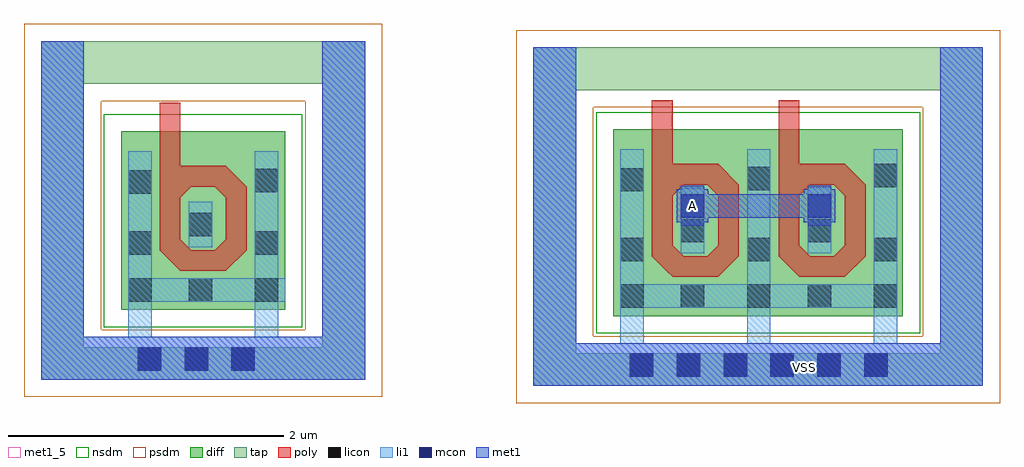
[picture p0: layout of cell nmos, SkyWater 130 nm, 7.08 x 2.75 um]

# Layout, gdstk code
import gdstk
lib = gdstk.Library(unit=1e-6, precision=1e-09)
def R(c, l, rs):  # rectangles x0, y0, x1, y1
    for r in rs: c.add(gdstk.rectangle(r[:2], r[2:], *l))
def A(c, l, x, y, w, h, nx, ny, dx, dy):  # array of equal rectangles
    R(c, l, [(x+i*dx, y+j*dy, x+i*dx+w, y+j*dy+h) for i in range(nx) for j in range(ny)])
def P(c, l, *ps):  # polygons
    for p in ps: c.add(gdstk.Polygon(p, *l))
diff = (65, 20)
tap = (65, 44)
poly = (66, 20)
licon = (66, 44)
li1 = (67, 20)
mcon = (67, 44)
met1_5 = (68, 5)
met1 = (68, 20)
nsdm = (93, 44)
psdm = (94, 20)

nmos = lib.new_cell('nmos')
R(nmos, diff, [(3.57,0.46,5.67,1.815), (0,0.505,1.19,1.8)])
R(nmos, tap, [(2.99,-0.045,6.25,0.19), (-0.58,0,1.77,0.235), (2.99,0.19,3.3,2.1), (5.94,0.19,6.25,2.1), (-0.58,0.235,-0.27,2.145), (1.46,0.235,1.77,2.145), (2.99,2.1,6.25,2.41), (-0.58,2.145,1.77,2.455)])
R(nmos, poly, [(4,0.745,4.33,0.79), (4.92,0.745,5.25,0.895), (0.43,0.79,0.76,0.94), (3.955,0.79,4.33,0.895), (3.85,0.895,4,1.415), (4.33,0.895,4.48,1.415), (4.77,0.895,4.92,1.415), (5.25,0.895,5.4,1.415), (0.28,0.94,0.43,1.4), (0.76,0.94,0.91,1.4), (0.28,1.4,0.76,1.55), (3.85,1.415,4.33,1.565), (4.77,1.415,5.25,1.565), (0.28,1.55,0.43,2.01), (3.85,1.565,4,2.025), (4.77,1.565,4.92,2.025)])
P(nmos, poly, [(0.76,1.55),(0.76,1.4),(0.91,1.4)],
  [(0.43,1.32),(0.43,1.4),(0.51,1.4)],
  [(0.68,1.4),(0.76,1.4),(0.76,1.32)],
  [(0.43,1.02),(0.43,0.94),(0.51,0.94)],
  [(0.68,0.94),(0.76,0.94),(0.76,1.02)],
  [(0.28,0.94),(0.43,0.94),(0.43,0.79)],
  [(0.76,0.79),(0.76,0.94),(0.91,0.94)],
  [(4.33,1.565),(4.33,1.415),(4.48,1.415)],
  [(4,1.335),(4,1.415),(4.08,1.415)],
  [(4.25,1.415),(4.33,1.415),(4.33,1.335)],
  [(4,0.975),(4,0.895),(4.08,0.895)],
  [(4.25,0.895),(4.33,0.895),(4.33,0.975)],
  [(3.85,0.895),(3.955,0.895),(3.955,0.79)],
  [(3.955,0.79),(4,0.79),(4,0.745)],
  [(4.33,0.745),(4.33,0.895),(4.48,0.895)],
  [(5.25,1.565),(5.25,1.415),(5.4,1.415)],
  [(4.92,1.335),(4.92,1.415),(5,1.415)],
  [(5.17,1.415),(5.25,1.415),(5.25,1.335)],
  [(4.92,0.975),(4.92,0.895),(5,0.895)],
  [(5.17,0.895),(5.25,0.895),(5.25,0.975)],
  [(4.77,0.895),(4.92,0.895),(4.92,0.745)],
  [(5.25,0.745),(5.25,0.895),(5.4,0.895)])
A(nmos, licon, 3.69, 0.02, 0.17, 0.17, 6, 1, 0.34, 0)
A(nmos, licon, 0.12, 0.065, 0.17, 0.17, 3, 1, 0.34, 0)
A(nmos, licon, 3.62, 0.86, 0.17, 0.17, 3, 1, 0.92, 0)
R(nmos, licon, [(3.62,0.52,3.79,0.69), (4.06,0.52,4.23,0.69), (4.54,0.52,4.71,0.69), (4.98,0.52,5.15,0.69), (5.46,0.52,5.63,0.69), (0.05,0.565,0.22,0.735), (0.49,0.565,0.66,0.735), (0.97,0.565,1.14,0.735), (0.05,0.905,0.22,1.075), (0.97,0.905,1.14,1.075), (4.06,0.995,4.23,1.165), (4.98,0.995,5.15,1.165), (0.49,1.04,0.66,1.21), (0.05,1.35,0.22,1.52), (0.97,1.36,1.14,1.53), (3.62,1.365,3.79,1.535), (4.54,1.375,4.71,1.545), (5.46,1.395,5.63,1.565)])
A(nmos, li1, 3.62, 0.265, 0.17, 0.255, 3, 1, 0.92, 0)
A(nmos, li1, 3.62, 0.69, 0.17, 0.98, 3, 1, 0.92, 0)
R(nmos, li1, [(2.99,-0.045,6.25,0.265), (-0.58,0,1.77,0.31), (2.99,0.265,3.3,2.41), (5.94,0.265,6.25,2.41), (-0.58,0.31,-0.27,2.455), (0.05,0.31,0.22,0.565), (0.97,0.31,1.14,0.565), (1.46,0.31,1.77,2.455), (3.62,0.52,5.63,0.69), (0.05,0.565,1.19,0.735), (0.05,0.735,0.22,1.655), (0.97,0.735,1.14,1.655), (4.06,0.915,4.23,1.39), (4.98,0.915,5.15,1.395), (0.49,0.96,0.66,1.29)])
A(nmos, mcon, 3.69, 0.02, 0.17, 0.17, 6, 1, 0.34, 0)
A(nmos, mcon, 0.12, 0.065, 0.17, 0.17, 3, 1, 0.34, 0)
R(nmos, mcon, [(4.06,1.175,4.23,1.345), (4.98,1.175,5.15,1.345)])
R(nmos, met1_5, [(4.06,1.175,4.23,1.345)])
R(nmos, met1, [(2.99,-0.045,6.25,0.265), (-0.58,0,1.77,0.31), (2.99,0.265,3.3,2.41), (5.94,0.265,6.25,2.41), (-0.58,0.31,-0.27,2.455), (1.46,0.31,1.77,2.455), (4.06,1.115,4.23,1.14), (4.98,1.115,5.15,1.14), (4.03,1.14,4.26,1.175), (4.95,1.14,5.18,1.175), (4.03,1.175,5.18,1.345), (4.03,1.345,4.26,1.38), (4.95,1.345,5.18,1.38), (4.06,1.38,4.23,1.405), (4.98,1.38,5.15,1.405)])
R(nmos, nsdm, [(3.445,0.335,5.795,1.94), (-0.125,0.38,1.315,1.925)])
R(nmos, psdm, [(2.865,-0.17,6.375,0.315), (-0.705,-0.125,1.895,0.36), (2.865,0.315,3.425,1.975), (5.815,0.315,6.375,1.975), (-0.705,0.36,-0.145,2.02), (1.335,0.36,1.895,2.02), (2.865,1.975,6.375,2.535), (-0.705,2.02,1.895,2.58)])
nmos.add(gdstk.Label('VSS', (4.96,0.085), layer=68, texttype=5))
nmos.add(gdstk.Label('A', (4.145,1.26), layer=68, texttype=5))

lib.write_gds('nmos.gds')
